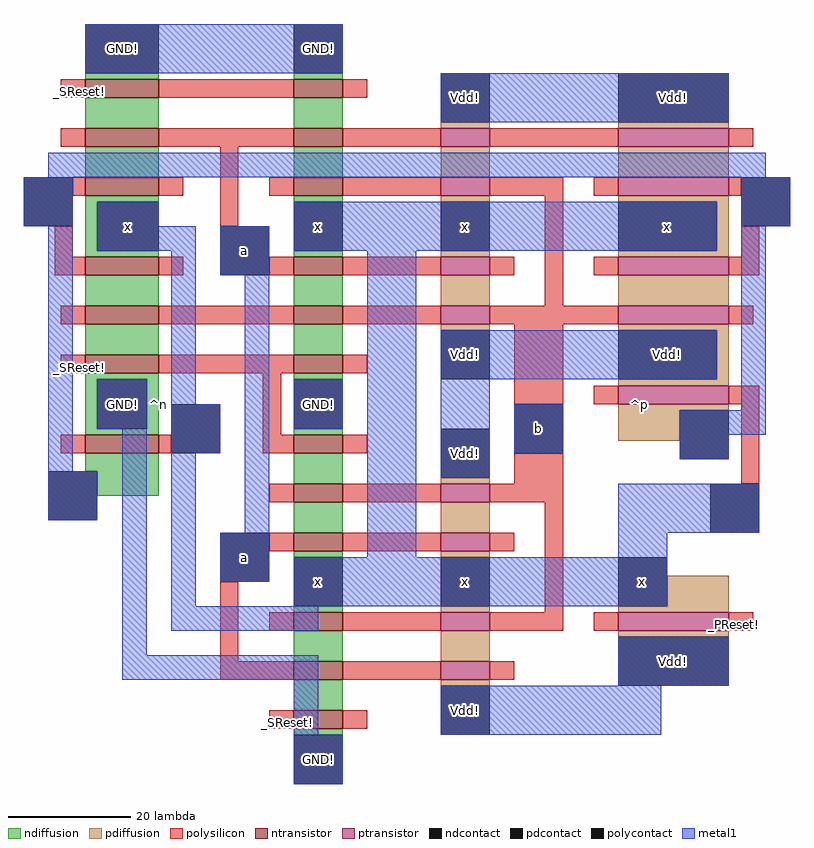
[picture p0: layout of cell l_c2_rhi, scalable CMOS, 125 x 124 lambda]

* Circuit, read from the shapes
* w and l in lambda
.subckt l_c2_rhi GND! Vdd! _PReset! _SReset! a b x
M1 GND! x n1 VSUBS nfet w=12 l=3
M2 n2 _SReset! GND! VSUBS nfet w=12 l=3
M3 n3 b n2 VSUBS nfet w=12 l=3
M4 x n1 n3 VSUBS nfet w=12 l=3
M5 n4 n1 x VSUBS nfet w=12 l=3
M6 n5 a n4 VSUBS nfet w=12 l=3
M7 GND! _SReset! n5 VSUBS nfet w=12 l=3
M8 n6 _SReset! GND! VSUBS nfet w=8 l=3
M9 n7 a n6 VSUBS nfet w=8 l=3
M10 x b n7 VSUBS nfet w=8 l=3
M11 n8 a x VSUBS nfet w=8 l=3
M12 n9 b n8 VSUBS nfet w=8 l=3
M13 GND! _SReset! n9 VSUBS nfet w=8 l=3
M14 n10 _SReset! GND! VSUBS nfet w=8 l=3
M15 n11 b n10 VSUBS nfet w=8 l=3
M16 x a n11 VSUBS nfet w=8 l=3
M17 n12 b x VSUBS nfet w=8 l=3
M18 n13 a n12 VSUBS nfet w=8 l=3
M19 GND! _SReset! n13 VSUBS nfet w=8 l=3
M20 n14 a Vdd! NWELL pfet w=8 l=3
M21 x b n14 NWELL pfet w=8 l=3
M22 n15 a x NWELL pfet w=8 l=3
M23 Vdd! b n15 NWELL pfet w=8 l=3
M24 n16 b Vdd! NWELL pfet w=8 l=3
M25 x a n16 NWELL pfet w=8 l=3
M26 n17 b x NWELL pfet w=8 l=3
M27 Vdd! a n17 NWELL pfet w=8 l=3
M28 x _PReset! Vdd! NWELL pfet w=18 l=3
M29 Vdd! x n1 NWELL pfet w=18 l=3
M30 n18 b Vdd! NWELL pfet w=18 l=3
M31 x n1 n18 NWELL pfet w=18 l=3
M32 n19 n1 x NWELL pfet w=18 l=3
M33 Vdd! a n19 NWELL pfet w=18 l=3
.ends

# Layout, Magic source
magic
tech scmos
<< ndiffusion >>
rect 70 59 82 60
rect 104 59 112 60
rect 70 51 82 56
rect 104 51 112 56
rect 70 43 82 48
rect 70 39 82 40
rect 70 31 72 39
rect 70 30 82 31
rect 104 43 112 48
rect 104 39 112 40
rect 104 30 112 31
rect 70 22 82 27
rect 104 22 112 27
rect 70 14 82 19
rect 104 14 112 19
rect 70 10 82 11
rect 70 2 72 10
rect 80 2 82 10
rect 70 1 82 2
rect 104 10 112 11
rect 104 1 112 2
rect 70 -5 82 -2
rect 72 -9 82 -5
rect 104 -7 112 -2
rect 104 -15 112 -10
rect 104 -19 112 -18
rect 104 -28 112 -27
rect 104 -36 112 -31
rect 104 -44 112 -39
rect 104 -48 112 -47
<< pdiffusion >>
rect 128 51 136 52
rect 157 51 175 52
rect 128 43 136 48
rect 157 43 175 48
rect 128 39 136 40
rect 128 30 136 31
rect 128 22 136 27
rect 157 39 175 40
rect 173 31 175 39
rect 157 30 175 31
rect 157 22 175 27
rect 128 18 136 19
rect 157 18 175 19
rect 173 10 175 18
rect 157 9 175 10
rect 128 -7 136 -6
rect 157 5 175 6
rect 157 0 167 5
rect 128 -15 136 -10
rect 128 -19 136 -18
rect 128 -28 136 -27
rect 165 -27 175 -22
rect 157 -28 175 -27
rect 128 -36 136 -31
rect 157 -32 175 -31
rect 128 -40 136 -39
<< ntransistor >>
rect 70 56 82 59
rect 104 56 112 59
rect 70 48 82 51
rect 104 48 112 51
rect 70 40 82 43
rect 104 40 112 43
rect 70 27 82 30
rect 104 27 112 30
rect 70 19 82 22
rect 104 19 112 22
rect 70 11 82 14
rect 104 11 112 14
rect 70 -2 82 1
rect 104 -2 112 1
rect 104 -10 112 -7
rect 104 -18 112 -15
rect 104 -31 112 -28
rect 104 -39 112 -36
rect 104 -47 112 -44
<< ptransistor >>
rect 128 48 136 51
rect 157 48 175 51
rect 128 40 136 43
rect 157 40 175 43
rect 128 27 136 30
rect 157 27 175 30
rect 128 19 136 22
rect 157 19 175 22
rect 157 6 175 9
rect 128 -10 136 -7
rect 128 -18 136 -15
rect 128 -31 136 -28
rect 157 -31 175 -28
rect 128 -39 136 -36
<< polysilicon >>
rect 66 56 70 59
rect 82 56 104 59
rect 112 56 116 59
rect 66 48 70 51
rect 82 48 104 51
rect 112 48 128 51
rect 136 48 157 51
rect 175 48 179 51
rect 68 40 70 43
rect 82 40 86 43
rect 65 30 68 35
rect 92 35 95 48
rect 100 40 104 43
rect 112 40 128 43
rect 136 40 148 43
rect 153 40 157 43
rect 175 40 177 43
rect 65 27 70 30
rect 82 27 86 30
rect 100 27 104 30
rect 112 27 128 30
rect 136 27 140 30
rect 145 22 148 40
rect 177 30 180 35
rect 153 27 157 30
rect 175 27 180 30
rect 66 19 70 22
rect 82 19 104 22
rect 112 19 128 22
rect 136 19 157 22
rect 175 19 179 22
rect 66 11 70 14
rect 82 11 104 14
rect 112 11 116 14
rect 66 -2 70 1
rect 82 -2 84 1
rect 99 1 102 11
rect 140 6 148 19
rect 153 6 157 9
rect 175 6 180 9
rect 99 -2 104 1
rect 112 -2 116 1
rect 140 -7 148 -2
rect 177 -7 180 6
rect 100 -10 104 -7
rect 112 -10 128 -7
rect 136 -10 148 -7
rect 100 -18 104 -15
rect 112 -18 128 -15
rect 136 -18 140 -15
rect 92 -36 95 -23
rect 145 -28 148 -10
rect 100 -31 104 -28
rect 112 -31 128 -28
rect 136 -31 148 -28
rect 153 -31 157 -28
rect 175 -31 179 -28
rect 92 -39 104 -36
rect 112 -39 128 -36
rect 136 -39 140 -36
rect 100 -47 104 -44
rect 112 -47 116 -44
<< ndcontact >>
rect 70 60 82 68
rect 104 60 112 68
rect 72 31 82 39
rect 104 31 112 39
rect 72 2 80 10
rect 104 2 112 10
rect 64 -13 72 -5
rect 104 -27 112 -19
rect 104 -56 112 -48
<< pdcontact >>
rect 128 52 136 60
rect 157 52 175 60
rect 128 31 136 39
rect 157 31 173 39
rect 128 10 136 18
rect 157 10 173 18
rect 128 -6 136 2
rect 167 -3 175 5
rect 128 -27 136 -19
rect 157 -27 165 -19
rect 157 -40 175 -32
rect 128 -48 136 -40
<< polycontact >>
rect 60 35 68 43
rect 92 27 100 35
rect 177 35 185 43
rect 84 -2 92 6
rect 140 -2 148 6
rect 92 -23 100 -15
rect 172 -15 180 -7
<< metal1 >>
rect 70 60 112 68
rect 128 52 175 60
rect 64 43 181 47
rect 60 35 68 43
rect 64 -5 68 35
rect 72 35 82 39
rect 72 31 88 35
rect 72 2 80 10
rect 64 -13 72 -5
rect 76 -35 80 2
rect 84 6 88 31
rect 92 27 100 35
rect 104 31 173 39
rect 177 35 185 43
rect 84 -2 92 6
rect 84 -27 88 -2
rect 96 -15 100 27
rect 104 2 112 10
rect 92 -23 100 -15
rect 116 -19 124 31
rect 128 10 173 18
rect 128 -6 136 10
rect 140 -2 148 6
rect 177 5 181 35
rect 167 1 181 5
rect 167 -3 175 1
rect 157 -15 180 -7
rect 157 -19 165 -15
rect 104 -27 165 -19
rect 84 -31 108 -27
rect 76 -39 108 -35
rect 104 -48 108 -39
rect 157 -40 175 -32
rect 128 -48 164 -40
rect 104 -56 112 -48
<< labels >>
rlabel metal1 108 35 108 35 1 x
rlabel metal1 132 35 132 35 1 x
rlabel metal1 132 56 132 56 5 Vdd!
rlabel metal1 108 64 108 64 5 GND!
rlabel metal1 108 6 108 6 1 GND!
rlabel metal1 108 -23 108 -23 1 x
rlabel metal1 132 -23 132 -23 1 x
rlabel metal1 132 -44 132 -44 1 Vdd!
rlabel metal1 108 -52 108 -52 1 GND!
rlabel polysilicon 103 -46 103 -46 1 _SReset!
rlabel metal1 132 14 132 14 1 Vdd!
rlabel metal1 132 -2 132 -2 1 Vdd!
rlabel metal1 165 14 165 14 1 Vdd!
rlabel polysilicon 176 -30 176 -30 1 _PReset!
rlabel space 59 -57 105 69 7 ^n
rlabel space 135 -49 186 61 3 ^p
rlabel metal1 165 35 165 35 5 x
rlabel metal1 166 56 166 56 5 Vdd!
rlabel metal1 166 -36 166 -36 1 Vdd!
rlabel metal1 161 -23 161 -23 1 x
rlabel metal1 144 2 144 2 1 b
rlabel polysilicon 69 57 69 57 1 _SReset!
rlabel polysilicon 69 12 69 12 1 _SReset!
rlabel metal1 76 64 76 64 5 GND!
rlabel metal1 76 6 76 6 1 GND!
rlabel metal1 96 31 96 31 1 a
rlabel metal1 96 -19 96 -19 1 a
rlabel metal1 77 35 77 35 1 x
<< end >>
